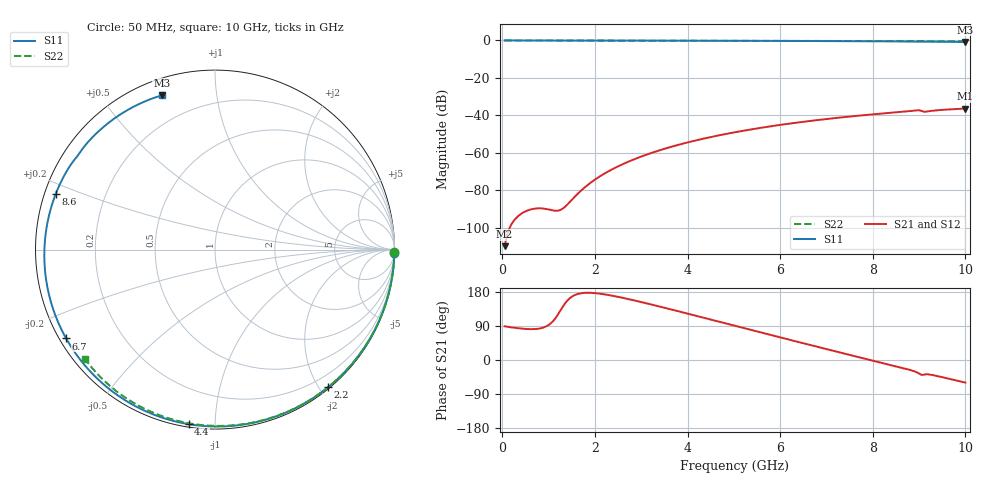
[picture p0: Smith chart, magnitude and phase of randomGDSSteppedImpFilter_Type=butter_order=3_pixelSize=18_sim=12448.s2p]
! freq	dB(S11)	phase(S11)	dB(S12)	phase(S12)
!  dB(S21)	phase(S21)	dB(S22)	phase(S22)
!S-par simulation data
#  GHz  S  DB  R 50
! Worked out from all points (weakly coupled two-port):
!   200 points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, 50 MHz to 10 GHz, reference 50 ohm
!   highest |S21| = -36.40 dB at 10 GHz (marker M1); lowest = -109.9 dB at 50 MHz (marker M2)
!   lowest |S11| = -0.8 dB at 10 GHz (marker M3), VSWR 21.02, Z = 3.58 + j35.5 ohm
!   |S11| at or under -10 dB: nowhere
!   |S22| runs from -0.5 to 0.0 dB; largest |S21 - S12| = 0
!   S11 on the Smith chart (normalised r, x): 50 MHz: 3, -98; 2.2 GHz: 0.02, -2.11; 4.4 GHz: 0.01, -0.86; 6.7 GHz: 0.02, -0.28; 8.6 GHz: 0.03, +0.17; 10 GHz: 0.07, +0.71
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0.05  -0.01 -1.2  -109.90 88.9  -109.90 88.9  -0.00 -0.8
0.85  -0.02 -19.9  -89.72 84.3  -89.72 84.3  -0.02 -13.7
1.7  -0.05 -39.3  -80.24 176.1  -80.24 176.1  -0.03 -27.2
1.75  -0.05 -40.5  -79.13 176.9  -79.13 176.9  -0.04 -28.0
1.95  -0.06 -45.0  -75.23 177.0  -75.23 177.0  -0.04 -31.1
2.2  -0.06 -50.6  -71.21 173.4  -71.21 173.4  -0.04 -35.0
2.75  -0.08 -62.8  -64.47 160.0  -64.47 160.0  -0.06 -43.5
3.4  -0.10 -77.1  -58.65 141.0  -58.65 141.0  -0.07 -53.2
3.9  -0.12 -87.9  -55.12 125.6  -55.12 125.6  -0.08 -60.6
4.4  -0.14 -98.6  -52.15 109.9  -52.15 109.9  -0.10 -67.8
5.05  -0.18 -112.6  -48.92 89.5  -48.92 89.5  -0.12 -76.9
5.85  -0.23 -129.9  -45.66 64.4  -45.66 64.4  -0.15 -87.8
6.7  -0.30 -149.2  -42.84 38.0  -42.84 38.0  -0.19 -99.0
7.6  -0.40 -171.2  -40.41 10.4  -40.41 10.4  -0.25 -110.4
8  -0.45 178.1  -39.48 -1.7  -39.48 -1.7  -0.28 -115.4
8.35  -0.50 168.1  -38.72 -12.2  -38.72 -12.2  -0.31 -119.8
8.6  -0.54 160.6  -38.20 -19.8  -38.20 -19.8  -0.33 -122.9
9  -0.63 147.6  -37.30 -35.6  -37.30 -35.6  -0.37 -127.8
9.1  -0.66 144.4  -38.07 -38.9  -38.07 -38.9  -0.38 -129.0
9.3  -0.67 137.3  -37.52 -39.9  -37.52 -39.9  -0.40 -131.4
9.65  -0.74 123.9  -36.84 -49.5  -36.84 -49.5  -0.44 -135.7
10  -0.83 109.0  -36.40 -59.7  -36.40 -59.7  -0.48 -139.9
